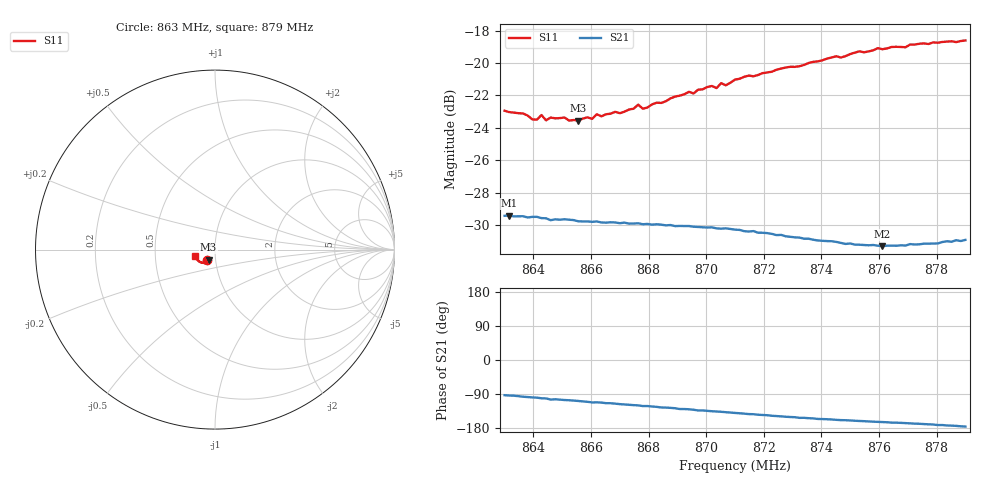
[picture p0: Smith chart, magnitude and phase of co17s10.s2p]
# HZ S RI R 50
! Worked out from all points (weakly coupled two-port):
!   101 points, 863 MHz to 879 MHz, reference 50 ohm
!   highest |S21| = -29.42 dB at 863.16 MHz (marker M1); lowest = -31.3 dB at 876.12 MHz (marker M2)
!   lowest |S11| = -23.6 dB at 865.56 MHz (marker M3), VSWR 1.14, Z = 46.3 - j5.2 ohm
!   |S11| at or under -10 dB: start of sweep to end of sweep
!   S12 and S22 are empty: the file has one direction only
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8.63e8  -0.0445 -0.0556  -0.00169 -0.0337  0 0  0 0
8.6316e8  -0.044 -0.0551  -0.00223 -0.0337  0 0  0 0
8.6364e8  -0.0424 -0.0555  -0.00407 -0.0334  0 0  0 0
8.6396e8  -0.0401 -0.0537  -0.00512 -0.0331  0 0  0 0
8.6428e8  -0.0399 -0.0564  -0.00632 -0.0326  0 0  0 0
8.6444e8  -0.0389 -0.054  -0.00657 -0.0325  0 0  0 0
8.6508e8  -0.0372 -0.0568  -0.00884 -0.0317  0 0  0 0
8.6556e8  -0.0358 -0.0559  -0.0101 -0.0308  0 0  0 0
8.6572e8  -0.0354 -0.0573  -0.0107 -0.0306  0 0  0 0
8.67e8  -0.0345 -0.0609  -0.0143 -0.0287  0 0  0 0
8.6764e8  -0.0371 -0.0644  -0.0159 -0.0278  0 0  0 0
8.678e8  -0.0361 -0.0626  -0.0166 -0.0271  0 0  0 0
8.6844e8  -0.037 -0.0656  -0.0183 -0.0259  0 0  0 0
8.694e8  -0.0407 -0.0706  -0.0202 -0.0241  0 0  0 0
8.7036e8  -0.0439 -0.0713  -0.0222 -0.0215  0 0  0 0
8.7052e8  -0.0461 -0.0733  -0.0224 -0.0211  0 0  0 0
8.7068e8  -0.0457 -0.0721  -0.0228 -0.0208  0 0  0 0
8.71e8  -0.0492 -0.074  -0.0233 -0.0198  0 0  0 0
8.7372e8  -0.0688 -0.0737  -0.0256 -0.0124  0 0  0 0
8.7612e8  -0.0896 -0.0643  -0.0261 -0.00762  0 0  0 0
8.7644e8  -0.0938 -0.0613  -0.0264 -0.00695  0 0  0 0
8.79e8  -0.111 -0.0381  -0.0284 -0.00216  0 0  0 0
